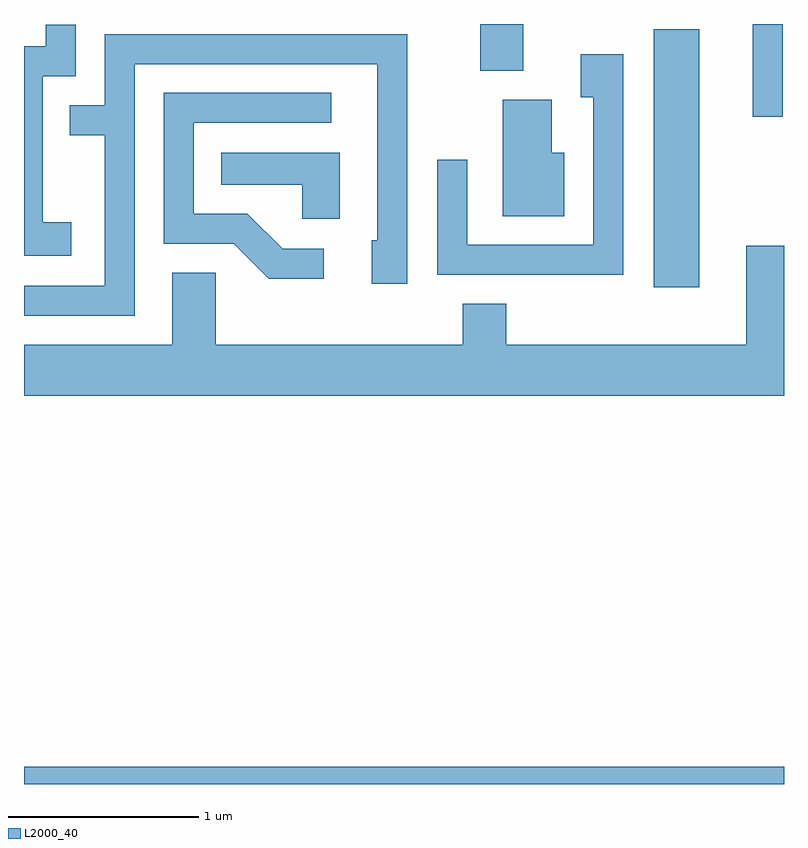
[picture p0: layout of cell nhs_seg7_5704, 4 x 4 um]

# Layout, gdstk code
import gdstk
lib = gdstk.Library(unit=1e-6, precision=1e-09)
def R(c, l, rs):  # rectangles x0, y0, x1, y1
    for r in rs: c.add(gdstk.rectangle(r[:2], r[2:], *l))
def P(c, l, *ps):  # polygons
    for p in ps: c.add(gdstk.Polygon(p, *l))
L2000_40 = (2000, 40)

nhs_seg7_5704 = lib.new_cell('nhs_seg7_5704')
R(nhs_seg7_5704, L2000_40, [(359.611,1732.252,363.611,1732.344), (362.926,1734.866,363.164,1736.224), (363.446,1735.763,363.604,1736.252), (362.011,1736.006,362.239,1736.252)])
P(nhs_seg7_5704, L2000_40, [(359.859,1735.209),(359.709,1735.209),(359.709,1735.976),(359.884,1735.976),(359.884,1736.248),(359.726,1736.248),(359.726,1736.134),(359.611,1736.134),(359.611,1735.031),(359.859,1735.031)],
  [(360.194,1736.041),(361.471,1736.041),(361.471,1735.114),(361.441,1735.114),(361.441,1734.886),(361.629,1734.886),(361.629,1736.199),(360.036,1736.199),(360.036,1735.824),(359.853,1735.824),(359.853,1735.666),(360.036,1735.666),(360.036,1734.874),(359.611,1734.874),(359.611,1734.716),(360.194,1734.716)],
  [(362.764,1736.094),(362.541,1736.094),(362.541,1735.866),(362.606,1735.866),(362.606,1735.089),(361.944,1735.089),(361.944,1735.538),(361.786,1735.538),(361.786,1734.931),(362.764,1734.931)],
  [(361.188,1735.069),(360.972,1735.069),(360.787,1735.254),(360.504,1735.254),(360.504,1735.731),(361.228,1735.731),(361.228,1735.889),(360.346,1735.889),(360.346,1735.096),(360.714,1735.096),(360.899,1734.911),(361.188,1734.911)],
  [(362.454,1735.574),(362.389,1735.574),(362.389,1735.854),(362.131,1735.854),(362.131,1735.241),(362.454,1735.241)],
  [(361.274,1735.574),(360.648,1735.574),(360.648,1735.406),(361.076,1735.406),(361.076,1735.226),(361.274,1735.226)],
  [(363.611,1735.084),(363.411,1735.084),(363.411,1734.564),(362.149,1734.564),(362.149,1734.779),(361.921,1734.779),(361.921,1734.564),(360.619,1734.564),(360.619,1734.944),(360.391,1734.944),(360.391,1734.564),(359.611,1734.564),(359.611,1734.296),(363.611,1734.296)])

lib.write_gds('nhs_seg7_5704.gds')
